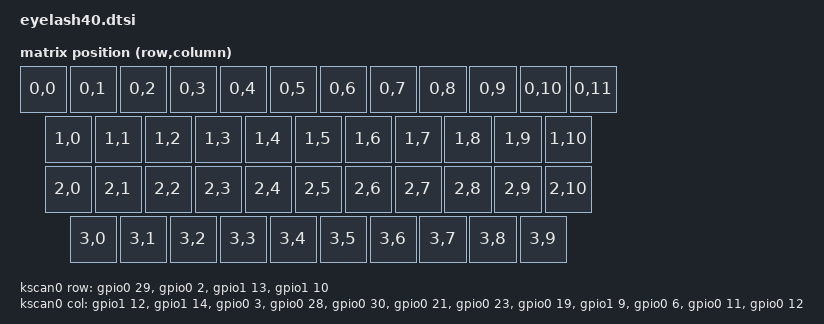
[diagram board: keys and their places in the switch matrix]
#include <dt-bindings/zmk/matrix_transform.h>
#include <physical_layouts.dtsi>

/ {
    eyelash40_layout: eyelash40_layout {
        compatible = "zmk,physical-layout";
        display-name = "Eyelash40";

        kscan = <&kscan0>;
        transform = <&matrix_transform0>;

        keys  //                     w   h    x    y     rot    rx    ry
            = <&key_physical_attrs 100 100    0    0       0     0     0>
            , <&key_physical_attrs 100 100  100    0       0     0     0>
            , <&key_physical_attrs 100 100  200    0       0     0     0>
            , <&key_physical_attrs 100 100  300    0       0     0     0>
            , <&key_physical_attrs 100 100  400    0       0     0     0>
            , <&key_physical_attrs 100 100  500    0       0     0     0>
            , <&key_physical_attrs 100 100  600    0       0     0     0>
            , <&key_physical_attrs 100 100  700    0       0     0     0>
            , <&key_physical_attrs 100 100  800    0       0     0     0>
            , <&key_physical_attrs 100 100  900    0       0     0     0>
            , <&key_physical_attrs 100 100 1000    0       0     0     0>
            , <&key_physical_attrs 100 100 1100    0       0     0     0>
            , <&key_physical_attrs 125 100    0  100       0     0     0>
            , <&key_physical_attrs 100 100  125  100       0     0     0>
            , <&key_physical_attrs 100 100  225  100       0     0     0>
            , <&key_physical_attrs 100 100  325  100       0     0     0>
            , <&key_physical_attrs 100 100  425  100       0     0     0>
            , <&key_physical_attrs 100 100  525  100       0     0     0>
            , <&key_physical_attrs 100 100  625  100       0     0     0>
            , <&key_physical_attrs 100 100  725  100       0     0     0>
            , <&key_physical_attrs 100 100  825  100       0     0     0>
            , <&key_physical_attrs 100 100  925  100       0     0     0>
            , <&key_physical_attrs 175 100 1025  100       0     0     0>
            , <&key_physical_attrs 175 100    0  200       0     0     0>
            , <&key_physical_attrs 100 100  175  200       0     0     0>
            , <&key_physical_attrs 100 100  275  200       0     0     0>
            , <&key_physical_attrs 100 100  375  200       0     0     0>
            , <&key_physical_attrs 100 100  475  200       0     0     0>
            , <&key_physical_attrs 100 100  575  200       0     0     0>
            , <&key_physical_attrs 100 100  675  200       0     0     0>
            , <&key_physical_attrs 100 100  775  200       0     0     0>
            , <&key_physical_attrs 100 100  875  200       0     0     0>
            , <&key_physical_attrs 100 100  975  200       0     0     0>
            , <&key_physical_attrs 125 100 1075  200       0     0     0>
            , <&key_physical_attrs 125 100    0  300       0     0     0>
            , <&key_physical_attrs 100 100  125  300       0     0     0>
            , <&key_physical_attrs 125 100  225  300       0     0     0>
            , <&key_physical_attrs 275 100  350  300       0     0     0>
            , <&key_physical_attrs 225 100  625  300       0     0     0>
            , <&key_physical_attrs 125 100  850  300       0     0     0>
            , <&key_physical_attrs 100 100  975  300       0     0     0>
            , <&key_physical_attrs 125 100 1075  300       0     0     0>
            ;
    };
};

/ {
    chosen {
        zmk,kscan = &kscan0;
        zmk,physical-layouts = &eyelash40_layout;
    };

    default_transform: keymap_transform_0 {
		compatible = "zmk,matrix-transform";
        columns = <12>;
        rows = <4>;

        map = <
			RC(0,0) RC(0,1) RC(0,2) RC(0,3) RC(0,4) RC(0,5) RC(0,6) RC(0,7) RC(0,8) RC(0,9) RC(0,10) RC(0,11)
				RC(1,0) RC(1,1) RC(1,2) RC(1,3) RC(1,4) RC(1,5) RC(1,6) RC(1,7) RC(1,8) RC(1,9) RC(1,10)
					RC(2,0) RC(2,1) RC(2,2) RC(2,3) RC(2,4) RC(2,5) RC(2,6) RC(2,7) RC(2,8) RC(2,9) RC(2,10)
						RC(3,0) RC(3,1) RC(3,2) RC(3,3) RC(3,4) RC(3,5)     RC(3,6) RC(3,7) RC(3,8) RC(3,9)
        >;
    };
	
    kscan0: kscan {
        compatible = "zmk,kscan-gpio-matrix";
        label = "KSCAN";
        diode-direction = "col2row";
	row-gpios
        = <&gpio0 29 (GPIO_ACTIVE_HIGH | GPIO_PULL_DOWN)>
        , <&gpio0 2 (GPIO_ACTIVE_HIGH | GPIO_PULL_DOWN)>
        , <&gpio1 13 (GPIO_ACTIVE_HIGH | GPIO_PULL_DOWN)>
	    , <&gpio1 10 (GPIO_ACTIVE_HIGH | GPIO_PULL_DOWN)>
        ;
	col-gpios
		= <&gpio1 12 GPIO_ACTIVE_HIGH>
		, <&gpio1 14 GPIO_ACTIVE_HIGH>
		, <&gpio0 3 GPIO_ACTIVE_HIGH>
		, <&gpio0 28  GPIO_ACTIVE_HIGH>
		, <&gpio0 30 GPIO_ACTIVE_HIGH>
		, <&gpio0 21  GPIO_ACTIVE_HIGH>
		, <&gpio0 23  GPIO_ACTIVE_HIGH>
		, <&gpio0 19  GPIO_ACTIVE_HIGH>
		, <&gpio1 9  GPIO_ACTIVE_HIGH>
		, <&gpio0 6  GPIO_ACTIVE_HIGH>
		, <&gpio0 11  GPIO_ACTIVE_HIGH>
		, <&gpio0 12  GPIO_ACTIVE_HIGH>
		;
    };

};

&eyelash40_layout{

	transform = <&default_transform>;

	kscan = <&kscan0>;

};



zephyr_udc0: &usbd { 

    compatible = "nordic,nrf-usbd"; 

    status = "okay"; 

};
